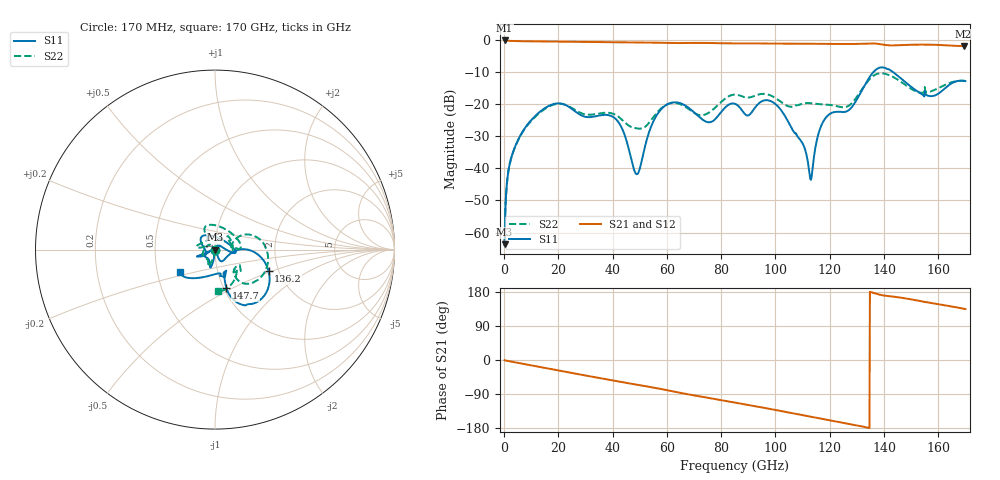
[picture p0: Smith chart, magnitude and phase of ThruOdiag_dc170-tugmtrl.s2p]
!QAlibria Port Mapping:1,2
!QAlibria TraceName:S11,S21,S12,S22
# Hz S RI R 50
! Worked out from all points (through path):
!   1000 points, 170 MHz to 170 GHz, reference 50 ohm
!   highest |S21| = -0.08 dB at 170 MHz (marker M1); lowest = -1.8 dB at 169.3 GHz (marker M2)
!   group delay of S21, straight-line fit = 3.68 ps
!   lowest |S11| = -63.7 dB at 170 MHz (marker M3), VSWR 1.00, Z = 50 - j0.0615 ohm
!   |S11| at or under -10 dB: start of sweep to 136 GHz; 143.4 GHz to end of sweep
!   |S22| runs from -64.2 to -10.3 dB; largest |S21 - S12| = 0.023
!   S11 on the Smith chart (normalised r, x): 170 MHz: 1.00, -0.00; 136.2 GHz: 1.77, -0.47; 147.7 GHz: 1.03, -0.47; 170 GHz: 0.66, -0.18
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1.7e8  0.000224 -0.000615  0.991 -0.0104  0.991 -0.0104  0.000154 -0.000593
2.21e9  0.000396 -0.0126  0.974 -0.0628  0.9738 -0.0627  6.32e-05 -0.0126
7.82e9  -0.00469 -0.0435  0.9446 -0.1867  0.9423 -0.1859  -0.00813 -0.0419
1.87e10  -0.0239 -0.0993  0.8566 -0.4091  0.8513 -0.4085  -0.0362 -0.0932
2.856e10  -0.0339 -0.0577  0.732 -0.5937  0.7318 -0.5934  -0.0395 -0.0608
4.131e10  -0.0513 -0.027  0.5195 -0.7684  0.5178 -0.765  -0.0664 -0.0124
4.896e10  -0.008 0.00145  0.3874 -0.837  0.3878 -0.8346  -0.0278 0.0316
5.678e10  -0.0689 -0.0254  0.2347 -0.8825  0.2336 -0.8826  -0.0773 0.0118
6.392e10  -0.0995 -0.0386  0.0753 -0.8992  0.0771 -0.8991  -0.1014 0.021
7.582e10  -0.0514 -0.0107  -0.1666 -0.8888  -0.1659 -0.8828  -0.0413 0.0637
8.517e10  -0.0656 0.0775  -0.3449 -0.8218  -0.3457 -0.8158  -0.0375 0.1366
8.976e10  0.03 0.0598  -0.4291 -0.7853  -0.4263 -0.7663  0.0659 0.109
1.0013e11  0.0982 -0.0181  -0.594 -0.6565  -0.5907 -0.6495  0.1239 0.00546
1.1339e11  0.007 -0.00347  -0.7639 -0.4386  -0.753 -0.4358  0.0833 0.0618
1.1798e11  0.0219 -0.0528  -0.8035 -0.357  -0.7915 -0.3516  0.0988 0.0132
1.2682e11  0.0725 -0.0341  -0.8552 -0.1771  -0.8516 -0.1742  0.0918 0.0209
1.3617e11  0.2981 -0.118  -0.889 0.0459  -0.8866 0.0491  0.28 0.0156
1.4178e11  0.1643 -0.3103  -0.8155 0.1656  -0.8123 0.1667  0.2238 -0.1776
1.4773e11  0.0637 -0.2148  -0.8059 0.2497  -0.8026 0.2465  0.1211 -0.1629
1.5742e11  0.0182 -0.1328  -0.7397 0.4209  -0.7317 0.4043  0.1186 -0.107
1.6932e11  -0.191 -0.1322  -0.5775 0.5708  -0.5755 0.5673  0.0223 -0.2318
1.7e11  -0.1925 -0.1259  -0.5682 0.5804  -0.5663 0.5772  0.0145 -0.2317
